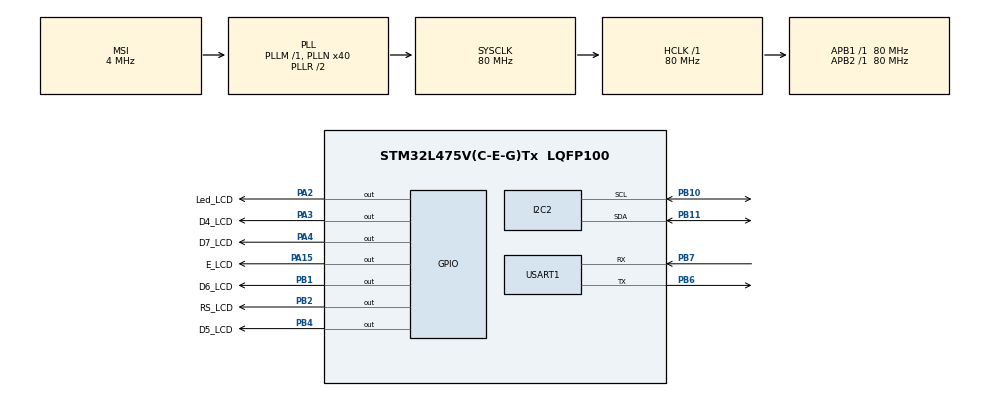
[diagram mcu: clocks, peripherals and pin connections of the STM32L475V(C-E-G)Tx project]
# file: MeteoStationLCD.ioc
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I2C2.I2C_Fall_Time=0
I2C2.I2C_Rise_Time=0
I2C2.Timing=0x10909CEC
Mcu.Family=STM32L4
Mcu.Name=STM32L475V(C-E-G)Tx
Mcu.Package=LQFP100
NVIC.PriorityGroup=NVIC_PRIORITYGROUP_4
NVIC.USART1_IRQn=true\:0\:0\:false\:false\:true\:true\:true\:true
PA15\ (JTDI).GPIO_Label=E_LCD
PA15\ (JTDI).Signal=GPIO_Output
PA2.GPIO_Label=Led_LCD
PA2.Signal=GPIO_Output
PA3.GPIO_Label=D4_LCD
PA3.Signal=GPIO_Output
PA4.GPIO_Label=D7_LCD
PA4.Signal=GPIO_Output
PB1.GPIO_Label=D6_LCD
PB1.Signal=GPIO_Output
PB10.Mode=I2C
PB10.Signal=I2C2_SCL
PB11.Mode=I2C
PB11.Signal=I2C2_SDA
PB2.GPIO_Label=RS_LCD
PB2.Signal=GPIO_Output
PB4\ (NJTRST).GPIO_Label=D5_LCD
PB4\ (NJTRST).Signal=GPIO_Output
PB6.Mode=Asynchronous
PB6.Signal=USART1_TX
PB7.Mode=Asynchronous
PB7.Signal=USART1_RX
ProjectManager.HeapSize=0x200
ProjectManager.StackSize=0x400
ProjectManager.TargetToolchain=STM32CubeIDE
RCC.AHBFreq_Value=80000000
RCC.APB1Freq_Value=80000000
RCC.APB1TimFreq_Value=80000000
RCC.APB2Freq_Value=80000000
RCC.APB2TimFreq_Value=80000000
RCC.CortexFreq_Value=80000000
RCC.HCLKFreq_Value=80000000
RCC.HSE_VALUE=8000000
RCC.HSI_VALUE=16000000
RCC.LSE_VALUE=32768
RCC.MSI_VALUE=4000000
RCC.PLLN=40
RCC.SYSCLKFreq_VALUE=80000000
RCC.SYSCLKSource=RCC_SYSCLKSOURCE_PLLCLK
RCC.VCOOutputFreq_Value=160000000
USART1.VirtualMode-Asynchronous=VM_ASYNC
board=custom

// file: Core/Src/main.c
/* USER CODE BEGIN Header */
/**
  ******************************************************************************
  * @file           : main.c
  * @brief          : Main program body
  ******************************************************************************
  * @attention
  *
  * Copyright (c) 2025 STMicroelectronics.
  * All rights reserved.
  *
  * This software is licensed under terms that can be found in the LICENSE file
  * in the root directory of this software component.
  * If no LICENSE file comes with this software, it is provided AS-IS.
  *
  ******************************************************************************
  */
/* USER CODE END Header */
#include "main.h"

/* USER CODE BEGIN Includes */
#include "hd44780.h"
#include "LPS22.h"
#include "HTS221.h"
#include <stdio.h>
/* USER CODE END Includes */

I2C_HandleTypeDef hi2c2;

UART_HandleTypeDef huart1;

float maxPress, maxTemp, maxHum, minPress, minTemp, minHum;
uint8_t rxByte;
int modoVisualizacion = 0;  // 0: normal, 1: max, 2: min, 3: reset, 4: imperial units

void SystemClock_Config(void);
static void MX_GPIO_Init(void);
static void MX_I2C2_Init(void);
static void MX_USART1_UART_Init(void);

int main(void)
{

  /* MCU Configuration--------------------------------------------------------*/

  /* Reset of all peripherals, Initializes the Flash interface and the Systick. */
  HAL_Init();

  /* Configure the system clock */
  SystemClock_Config();

  /* Initialize all configured peripherals */
  MX_GPIO_Init();
  MX_I2C2_Init();
  MX_USART1_UART_Init();
  /* USER CODE BEGIN 2 */
  lcd_reset();
  lcd_display_settings(1,0,0);
  lcd_clear();

  LPS22_Init();

  HTS221_Init();

  HAL_UART_Receive_IT(&huart1, &rxByte, 1);
  /* USER CODE END 2 */

  /* Infinite loop */
  /* USER CODE BEGIN WHILE */
  while (1)
  {
	  uint8_t str[20];

	  float press;
	  press = LPS22_ReadPress();
	  THSample ths = HTS221_Read();

	  printf("Pres: %.1fhPA T:%.1fC H:%.1f%%\r\n", press, ths.temp, ths.hum);

	  if (press > maxPress) maxPress = press;
	  if (press < minPress) minPress = press;
	  if (ths.temp > maxTemp) maxTemp = ths.temp;
	  if (ths.temp < minTemp) minTemp = ths.temp;
	  if (ths.hum > maxHum) maxHum = ths.hum;
	  if (ths.hum < minHum) minHum = ths.hum;

	  switch (modoVisualizacion) {
	  	  case 1:
	  		  sprintf(str, "MaxP: %.1fhPA", maxPress);
	  		  moveToXY(0, 0);
	  		  lcd_print(str);
	  		  sprintf(str, "MaxT:%.1fC MaxH:%.1f%%", maxTemp, maxHum);
	  		  moveToXY(1, 0);
	  		  lcd_print(str);
	  		  break;
	  	  case 2:
	  		  sprintf(str, "MinP: %.1fhPA", minPress);
	  		  moveToXY(0, 0);
	  		  lcd_print(str);
	  		  sprintf(str, "MinT:%.1fC MiH:%.1f%%", minTemp, minHum);
	  		  moveToXY(1, 0);
	  		  lcd_print(str);
	  		  break;
	      case 4:
	    	  sprintf(str, "Pres:%.1fhmmHg", press/1.333);
	    	  moveToXY(0, 0);
	    	  lcd_print(str);
	    	  sprintf(str, "T:%.1fF H:%.1f%%", (ths.temp*9/5)+32, ths.hum);
	    	  moveToXY(1, 0);
	    	  lcd_print(str);
	    	  break;
	      default:
	    	  sprintf(str, "Pres: %.1fhPA", press);
	    	  moveToXY(0, 0);
	    	  lcd_print(str);
	    	  sprintf(str, "T:%.1fC H:%.1f%%", ths.temp, ths.hum);
	    	  moveToXY(1, 0);
	    	  lcd_print(str);
	    }
    /* USER CODE END WHILE */

  }
}

void SystemClock_Config(void)
{
  RCC_OscInitTypeDef RCC_OscInitStruct = {0};
  RCC_ClkInitTypeDef RCC_ClkInitStruct = {0};

  /** Configure the main internal regulator output voltage
  */
  if (HAL_PWREx_ControlVoltageScaling(PWR_REGULATOR_VOLTAGE_SCALE1) != HAL_OK)
  {
    Error_Handler();
  }

  /** Initializes the RCC Oscillators according to the specified parameters
  * in the RCC_OscInitTypeDef structure.
  */
  RCC_OscInitStruct.OscillatorType = RCC_OSCILLATORTYPE_MSI;
  RCC_OscInitStruct.MSIState = RCC_MSI_ON;
  RCC_OscInitStruct.MSICalibrationValue = 0;
  RCC_OscInitStruct.MSIClockRange = RCC_MSIRANGE_6;
  RCC_OscInitStruct.PLL.PLLState = RCC_PLL_ON;
  RCC_OscInitStruct.PLL.PLLSource = RCC_PLLSOURCE_MSI;
  RCC_OscInitStruct.PLL.PLLM = 1;
  RCC_OscInitStruct.PLL.PLLN = 40;
  RCC_OscInitStruct.PLL.PLLP = RCC_PLLP_DIV7;
  RCC_OscInitStruct.PLL.PLLQ = RCC_PLLQ_DIV2;
  RCC_OscInitStruct.PLL.PLLR = RCC_PLLR_DIV2;
  if (HAL_RCC_OscConfig(&RCC_OscInitStruct) != HAL_OK)
  {
    Error_Handler();
  }

  /** Initializes the CPU, AHB and APB buses clocks
  */
  RCC_ClkInitStruct.ClockType = RCC_CLOCKTYPE_HCLK|RCC_CLOCKTYPE_SYSCLK
                              |RCC_CLOCKTYPE_PCLK1|RCC_CLOCKTYPE_PCLK2;
  RCC_ClkInitStruct.SYSCLKSource = RCC_SYSCLKSOURCE_PLLCLK;
  RCC_ClkInitStruct.AHBCLKDivider = RCC_SYSCLK_DIV1;
  RCC_ClkInitStruct.APB1CLKDivider = RCC_HCLK_DIV1;
  RCC_ClkInitStruct.APB2CLKDivider = RCC_HCLK_DIV1;

  if (HAL_RCC_ClockConfig(&RCC_ClkInitStruct, FLASH_LATENCY_4) != HAL_OK)
  {
    Error_Handler();
  }
}

static void MX_I2C2_Init(void)
{

  hi2c2.Instance = I2C2;
  hi2c2.Init.Timing = 0x10909CEC;
  hi2c2.Init.OwnAddress1 = 0;
  hi2c2.Init.AddressingMode = I2C_ADDRESSINGMODE_7BIT;
  hi2c2.Init.DualAddressMode = I2C_DUALADDRESS_DISABLE;
  hi2c2.Init.OwnAddress2 = 0;
  hi2c2.Init.OwnAddress2Masks = I2C_OA2_NOMASK;
  hi2c2.Init.GeneralCallMode = I2C_GENERALCALL_DISABLE;
  hi2c2.Init.NoStretchMode = I2C_NOSTRETCH_DISABLE;
  if (HAL_I2C_Init(&hi2c2) != HAL_OK)
  {
    Error_Handler();
  }

  /** Configure Analogue filter
  */
  if (HAL_I2CEx_ConfigAnalogFilter(&hi2c2, I2C_ANALOGFILTER_ENABLE) != HAL_OK)
  {
    Error_Handler();
  }

  /** Configure Digital filter
  */
  if (HAL_I2CEx_ConfigDigitalFilter(&hi2c2, 0) != HAL_OK)
  {
    Error_Handler();
  }

}

static void MX_USART1_UART_Init(void)
{

  huart1.Instance = USART1;
  huart1.Init.BaudRate = 115200;
  huart1.Init.WordLength = UART_WORDLENGTH_8B;
  huart1.Init.StopBits = UART_STOPBITS_1;
  huart1.Init.Parity = UART_PARITY_NONE;
  huart1.Init.Mode = UART_MODE_TX_RX;
  huart1.Init.HwFlowCtl = UART_HWCONTROL_NONE;
  huart1.Init.OverSampling = UART_OVERSAMPLING_16;
  huart1.Init.OneBitSampling = UART_ONE_BIT_SAMPLE_DISABLE;
  huart1.AdvancedInit.AdvFeatureInit = UART_ADVFEATURE_NO_INIT;
  if (HAL_UART_Init(&huart1) != HAL_OK)
  {
    Error_Handler();
  }

}

static void MX_GPIO_Init(void)
{
  GPIO_InitTypeDef GPIO_InitStruct = {0};

  /* GPIO Ports Clock Enable */
  __HAL_RCC_GPIOA_CLK_ENABLE();
  __HAL_RCC_GPIOB_CLK_ENABLE();

  /*Configure GPIO pin Output Level */
  HAL_GPIO_WritePin(GPIOA, Led_LCD_Pin|D4_LCD_Pin|D7_LCD_Pin|E_LCD_Pin, GPIO_PIN_RESET);

  /*Configure GPIO pin Output Level */
  HAL_GPIO_WritePin(GPIOB, D6_LCD_Pin|RS_LCD_Pin|D5_LCD_Pin, GPIO_PIN_RESET);

  /*Configure GPIO pins : Led_LCD_Pin D4_LCD_Pin D7_LCD_Pin E_LCD_Pin */
  GPIO_InitStruct.Pin = Led_LCD_Pin|D4_LCD_Pin|D7_LCD_Pin|E_LCD_Pin;
  GPIO_InitStruct.Mode = GPIO_MODE_OUTPUT_PP;
  GPIO_InitStruct.Pull = GPIO_NOPULL;
  GPIO_InitStruct.Speed = GPIO_SPEED_FREQ_LOW;
  HAL_GPIO_Init(GPIOA, &GPIO_InitStruct);

  /*Configure GPIO pins : D6_LCD_Pin RS_LCD_Pin D5_LCD_Pin */
  GPIO_InitStruct.Pin = D6_LCD_Pin|RS_LCD_Pin|D5_LCD_Pin;
  GPIO_InitStruct.Mode = GPIO_MODE_OUTPUT_PP;
  GPIO_InitStruct.Pull = GPIO_NOPULL;
  GPIO_InitStruct.Speed = GPIO_SPEED_FREQ_LOW;
  HAL_GPIO_Init(GPIOB, &GPIO_InitStruct);

}

/* USER CODE BEGIN 4 */
int __io_putchar(int ch)
{
	uint8_t c[1];
	c[0] = ch & 0x00FF;
	HAL_UART_Transmit(&huart1, &*c, 1, 10);
	return ch;
}

void compute(uint8_t rxByte) {
	switch (rxByte) {
		case 'm':
			modoVisualizacion = 1;
			break;
	    case 'n':
	    	modoVisualizacion = 2;
	    	break;
	    case 'c':
	    	maxPress = minPress = 0;
	    	maxTemp = minTemp = 0;
	    	maxHum = minHum = 0;
	    	modoVisualizacion = 0;
	    	break;
	    case 'u':
	    	modoVisualizacion = 4;
	    	break;
	    default:
	    	modoVisualizacion = 0;
	  }
}

void HAL_UART_RxCpltCallback(UART_HandleTypeDef *huart) {
	//Procesar Dato
	compute(rxByte);

	//Esperar siguiente dato
	HAL_UART_Receive_IT(&huart1, &rxByte, 1);
}

/* USER CODE END 4 */

void Error_Handler(void)
{
  __disable_irq();
  while (1)
  {
  }
}
